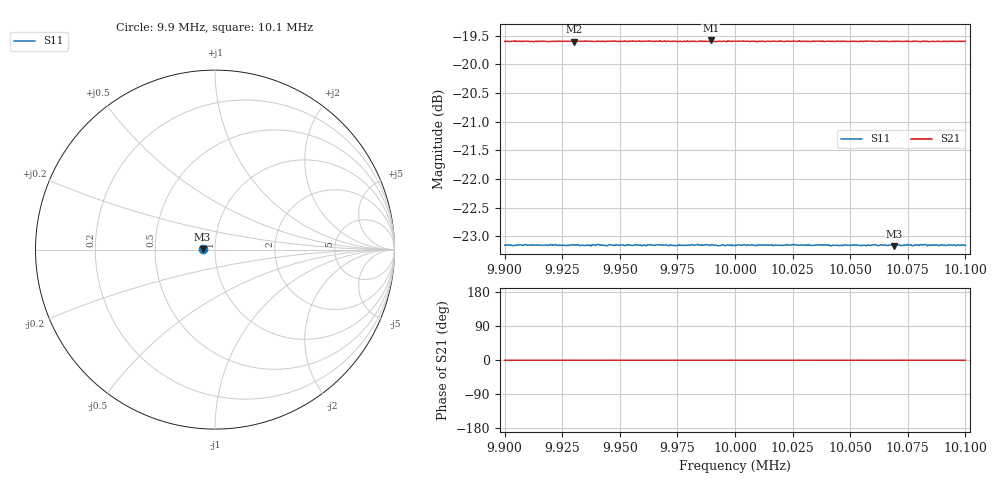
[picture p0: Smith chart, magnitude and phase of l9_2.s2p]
! NanoVNA-App
! Date: 2026-10-13 22:16:11
! Start: 9,9MHz Stop: 10,1MHz Points: 401
! S-Parameter data: F S11 S21 S12 S22
# Hz S RI R 50
!  Frequency  S11_Real  S11_Imag  S21_Real  S21_Imag  S12_Real  S12_Imag  S22_Real  S22_Imag
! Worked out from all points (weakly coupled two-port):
!   401 points, 9.9 MHz to 10.1 MHz, reference 50 ohm
!   highest |S21| = -19.58 dB at 9.9895 MHz (marker M1); lowest = -19.6 dB at 9.93 MHz (marker M2)
!   lowest |S11| = -23.2 dB at 10.069 MHz (marker M3), VSWR 1.15, Z = 43.5 + j0.342 ohm
!   |S11| at or under -10 dB: start of sweep to end of sweep
!   S12 and S22 are empty: the file has one direction only
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9900000  -0.0694 0.00385  0.1047 -0.00123  0 0  0 0
9921000  -0.0694 0.00396  0.1047 -0.00121  0 0  0 0
9927000  -0.0694 0.00398  0.1047 -0.00114  0 0  0 0
9930000  -0.0695 0.00398  0.1046 -0.0012  0 0  0 0
9933500  -0.0694 0.00398  0.1047 -0.00117  0 0  0 0
9941000  -0.0695 0.00394  0.1048 -0.00121  0 0  0 0
9943500  -0.0694 0.00391  0.1048 -0.00121  0 0  0 0
9957500  -0.0695 0.00398  0.1048 -0.0012  0 0  0 0
9960500  -0.0695 0.00393  0.1047 -0.00116  0 0  0 0
9967000  -0.0695 0.00394  0.1048 -0.00118  0 0  0 0
9973500  -0.0694 0.00395  0.1048 -0.00109  0 0  0 0
9989500  -0.0694 0.00389  0.1049 -0.00125  0 0  0 0
1e7  -0.0694 0.00393  0.1048 -0.00125  0 0  0 0
1.00205e7  -0.0694 0.00394  0.1047 -0.00132  0 0  0 0
1.0026e7  -0.0695 0.00395  0.1048 -0.00121  0 0  0 0
1.00335e7  -0.0694 0.00393  0.1048 -0.00127  0 0  0 0
1.0067e7  -0.0695 0.00389  0.1047 -0.00124  0 0  0 0
1.0069e7  -0.0693 0.00391  0.1048 -0.00117  0 0  0 0
1.0078e7  -0.0695 0.00393  0.1048 -0.00118  0 0  0 0
1.00815e7  -0.0695 0.00393  0.1048 -0.00126  0 0  0 0
1.00845e7  -0.0694 0.0039  0.1047 -0.00119  0 0  0 0
1.01e7  -0.0694 0.00388  0.1047 -0.00121  0 0  0 0
